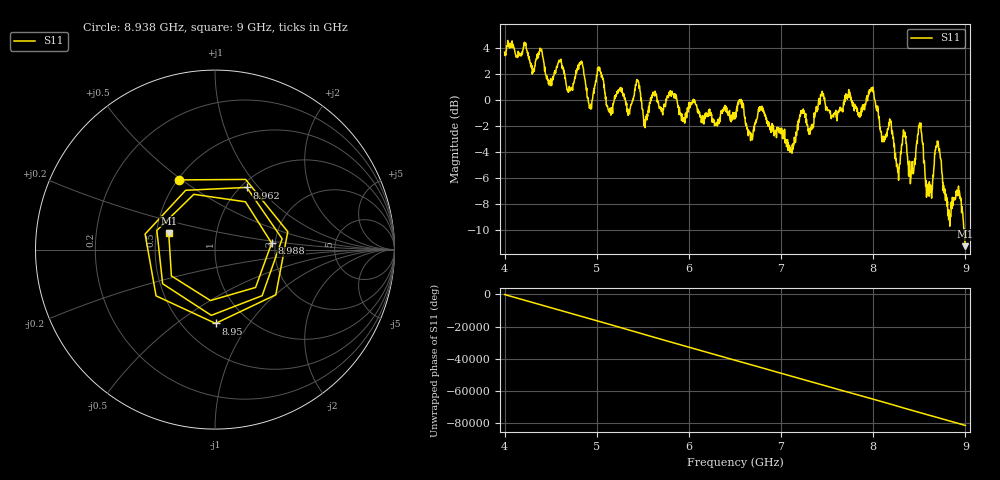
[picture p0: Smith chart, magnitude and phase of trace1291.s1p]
! Created with skrf 1.8.0 (http://scikit-rf.org).
# Hz S RI R 50.0
!freq ReS11 ImS11
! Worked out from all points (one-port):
!   1601 points, 4 GHz to 9 GHz, reference 50 ohm
!   lowest |S11| = -11.2 dB at 9 GHz (marker M1), VSWR 1.75, Z = 29.1 + j5.82 ohm
!   |S11| at or under -10 dB: 8.983901 GHz to 8.984977 GHz (1.076 MHz wide, 0.012 % of centre); 8.988494 GHz to end of sweep
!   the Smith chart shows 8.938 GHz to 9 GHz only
!   S11 on the Smith chart (normalised r, x): 8.938 GHz: 0.51, +0.49; 8.95 GHz: 0.71, -0.71; 8.962 GHz: 1.06, +0.87; 8.988 GHz: 1.91, +0.15; 9 GHz: 0.58, +0.12
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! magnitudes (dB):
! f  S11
! 4 GHz  3.7
! 4.625 GHz  2.4
! 4.703 GHz  1.1
! 4.831 GHz  2.9
! 4.925 GHz  -0.5
! 5.022 GHz  2.6
! 5.131 GHz  -0.8
! 5.25 GHz  0.8
! 5.444 GHz  1.5
! 5.528 GHz  -1.6
! 5.875 GHz  -0.2
! 6.5 GHz  -1.3
! 7.125 GHz  -3.8
! 7.228 GHz  -0.8
! 7.75 GHz  0.2
! 7.984 GHz  0.9
! 8.259 GHz  -4.9
! 8.375 GHz  -4.8
! 8.428 GHz  -5.5
! 8.506 GHz  -1.8
! 8.594 GHz  -7.1
! 8.697 GHz  -3.2
! 8.819 GHz  -9.2
! 8.938 GHz  -7.2
! 8.95 GHz  -7.7
! 8.962 GHz  -8.2
! 8.988 GHz  -10.0
! 9 GHz  -11.2
